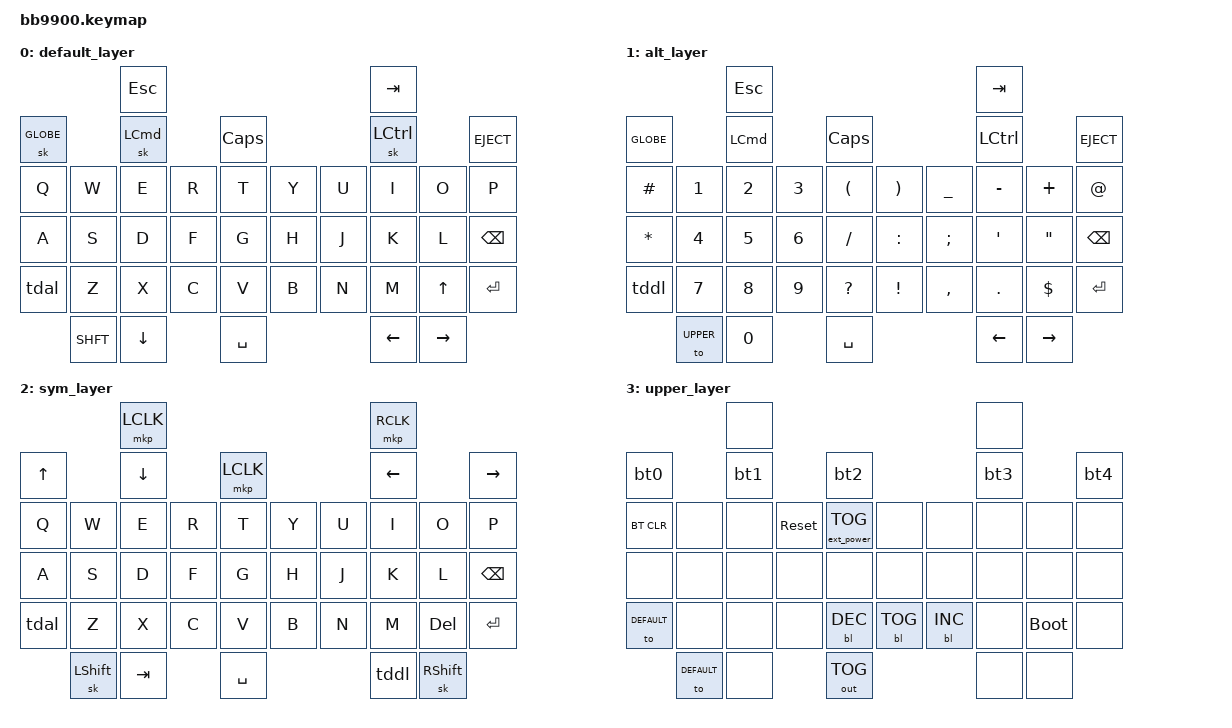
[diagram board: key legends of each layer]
/*
 * Copyright (c) 2023 ZitaoTech
 *
 * Fork of ZitaoTech's zmk-config_9900. Optimized for iOS and Windows usage.
 *
 * SPDX-License-Identifier: MIT
 */
  
#include <behaviors.dtsi>
#include <dt-bindings/zmk/keys.h>
#include <dt-bindings/zmk/bt.h>
#include <dt-bindings/zmk/outputs.h>
#include <dt-bindings/zmk/mouse.h>
#include <dt-bindings/zmk/backlight.h>
#include <dt-bindings/zmk/ext_power.h>

#define DEFAULT 0
#define ALT 1
#define SYM 2
#define UPPER 3

&sk {
    release-after-ms = <3000>;
};
&sl {
    release-after-ms = <3000>;
};

/ {
    behaviors {
        td0: tap_dance_0 {
            compatible = "zmk,behavior-tap-dance";
            #binding-cells = <0>;
            tapping-term-ms = <400>;
            bindings = <&mkp LCLK>, <&bt BT_CLR>;
        };
    };
    behaviors {
        hm: homerow_mods {
            compatible = "zmk,behavior-hold-tap";
            #binding-cells = <2>;
            tapping-term-ms = <500>;
            bindings = <&out &kp>;
        };
    };
    behaviors {
        tdp: tap_dance_punctuations {
            compatible = "zmk,behavior-tap-dance";
            #binding-cells = <0>;
            tapping-term-ms = <200>;
            bindings = <&kp DOT>, <&kp COMMA>, <&kp EXCL>, <&kp QMARK>;
        };
        skq: sticky_key_quick_release {
            compatible = "zmk,behavior-sticky-key";
            release-after-ms = <1000>;
            #binding-cells = <1>;
            bindings = <&kp>;
            quick-release;
        };
        hts: hold_tap_shift {
            compatible = "zmk,behavior-hold-tap";
            #binding-cells = <2>;
            flavor = "tap-preferred";
            tapping-term-ms = <100>;
            bindings = <&kp>, <&skq>;
        };
        tdsc: tap_dance_shft_clck {
            compatible = "zmk,behavior-tap-dance";
            #binding-cells = <0>;
            tapping-term-ms = <200>;
            bindings = <&hts CLCK LSHFT>, <&kp CLCK>;
        };
        htsk: hold_tap_skq_kp {
            compatible = "zmk,behavior-hold-tap";
            #binding-cells = <2>;
            flavor = "hold-preferred";
            tapping-term-ms = <100>;
            bindings = <&skq>, <&kp>;
        };
        tdcs: tap_dance_clck_shft {
            compatible = "zmk,behavior-tap-dance";
            #binding-cells = <0>;
            tapping-term-ms = <200>;
            bindings = <&htsk LSHFT CLCK>, <&skq LSHFT>;
        };
        htls: hold_tap_layer_sticky {
            compatible = "zmk,behavior-hold-tap";
            #binding-cells = <2>;
            flavor = "hold-preferred";
            tapping-term-ms = <100>;
            bindings = <&to>, <&msl>;
        };
        htkpsl: hold_tap_kp_sl {
	        compatible = "zmk,behavior-hold-tap";
		    #binding-cells = <2>;
	        flavor = "tap-preferred";
	        tapping-term-ms = <200>;
	        quick-tap-ms = <125>;
	        require-prior-idle-ms = <125>;
            bindings = <&kp>, <&msl>;
        };
        tdhal: tap_dance_hold_alt_layer {
            compatible = "zmk,behavior-tap-dance";
            #binding-cells = <0>;
            tapping-term-ms = <200>;
            bindings = <&htls ALT ALT>, <&to ALT>;
        };
        tdhale: tap_dance_hold_alt_layer_eject {
            compatible = "zmk,behavior-tap-dance";
            #binding-cells = <0>;
            tapping-term-ms = <500>;
            bindings = <&htkpsl C_EJECT ALT>, <&to ALT>;
        };
        tdhsl: tap_dance_hold_sym_layer {
            compatible = "zmk,behavior-tap-dance";
            #binding-cells = <0>;
            tapping-term-ms = <200>;
            bindings = <&htls SYM SYM>, <&to SYM>;
        };
        tdhsul: tap_dance_hold_sym_upper_layer {
            compatible = "zmk,behavior-tap-dance";
            #binding-cells = <0>;
            tapping-term-ms = <200>;
            bindings = <&htls SYM SYM>, <&to SYM>, <&to UPPER>;
        };
        // Binging &to ALT to second tap allows switching from sticky ALT to full ALT from ALT layer, rather than having to go back to DEFAULT layer first.
        tddl: tap_dance_default_layer {
            compatible = "zmk,behavior-tap-dance";
            #binding-cells = <0>;
            tapping-term-ms = <300>;
            bindings = <&to DEFAULT>, <&to ALT>;
        };
        tddul: tap_dance_default_upper_layer {
            compatible = "zmk,behavior-tap-dance";
            #binding-cells = <0>;
            tapping-term-ms = <200>;
            bindings = <&to DEFAULT>, <&to DEFAULT>, <&to UPPER>;
        };
        tdal: tap_dance_alt_layer {
            compatible = "zmk,behavior-tap-dance";
            #binding-cells = <0>;
            tapping-term-ms = <300>;
            bindings = <&sl ALT>, <&to ALT>;
        };
        tdsl: tap_dance_sym_layer {
            compatible = "zmk,behavior-tap-dance";
            #binding-cells = <0>;
            tapping-term-ms = <500>;
            bindings = <&to SYM>, <&to SYM>;
        };
        tdul: tap_dance_upper_layer {
            compatible = "zmk,behavior-tap-dance";
            #binding-cells = <0>;
            tapping-term-ms = <500>;
            bindings = <&msl UPPER>, <&to UPPER>;
        };
        tdal2: tap_dance_alt_layer_2 {
            compatible = "zmk,behavior-tap-dance";
            #binding-cells = <0>;
            tapping-term-ms = <500>;
            bindings = <&msl ALT>, <&to ALT>;
        };
        // Credit: Drexel Macintosh
        // mtt expects LS(letter) letter to recreate BlackBerry's tap for lowercase and hold for uppercase behavior.
        mtt: mod_tap_tap {
	        compatible = "zmk,behavior-hold-tap";
		    #binding-cells = <2>;
	        flavor = "tap-preferred";
	        tapping-term-ms = <200>;
	        quick-tap-ms = <125>;
	        require-prior-idle-ms = <125>;
	        bindings = <&tap>, <&tap>;

        // Credit: Drexel Macintosh
        // Drexel's version of shift/capslock.
        SHFT: tap_dance_2 {
            compatible = "zmk,behavior-tap-dance";
            #binding-cells = <0>;
            tapping-term-ms = <300>;
            bindings = <&sk LSHFT>, <&kp CLCK>;
        };
   	 };
    };
    macros {
        msl: macro_sticky_layer {
            compatible = "zmk,behavior-macro-one-param";
            wait-ms = <0>;
            tap-ms = <0>;
            #binding-cells = <1>;
            bindings
                = <&macro_tap &to DEFAULT>
                , <&macro_param_1to1>
                , <&macro_tap &sl MACRO_PLACEHOLDER>
                ;
        };
        // Credit: Drexel Macintosh
        // tap will only send the keypress once, even if the key is held down.
        // This makes BlackBerry's hold for uppercase behavior easier to use.
        tap: tap {
            compatible = "zmk,behavior-macro-one-param";
            #binding-cells = <1>;
            // By default, macros will tap each behavior in the bindings list,
            // so this will tap "&kp <param1>".
            bindings = <&macro_param_1to1 &kp MACRO_PLACEHOLDER>;
        };
        // Credit: jonmilley
        // These macros will turn off all the bluetooth connections except the current active one.
        // This will prevent the keyboard from waking up all the paired devices at the same time everytime it is used.
        bt0: bt0 {
            compatible = "zmk,behavior-macro";
            #binding-cells = <0>;
            bindings = <&bt BT_SEL 0 &bt BT_DISC 1 &bt BT_DISC 2 &bt BT_DISC 3 &bt BT_DISC 4>;
            label = "BT0";
        };
        bt1: bt1 {
            compatible = "zmk,behavior-macro";
            #binding-cells = <0>;
            bindings = <&bt BT_SEL 1 &bt BT_DISC 0 &bt BT_DISC 2 &bt BT_DISC 3 &bt BT_DISC 4>;
            label = "BT1";
        };
        bt2: bt2 {
            compatible = "zmk,behavior-macro";
            #binding-cells = <0>;
            bindings = <&bt BT_SEL 2 &bt BT_DISC 0 &bt BT_DISC 1 &bt BT_DISC 3 &bt BT_DISC 4>;
            label = "BT2";
        };
        bt3: bt3 {
            compatible = "zmk,behavior-macro";
            #binding-cells = <0>;
            bindings = <&bt BT_SEL 3 &bt BT_DISC 0 &bt BT_DISC 1 &bt BT_DISC 2 &bt BT_DISC 4>;
            label = "BT3";
        };
        bt4: bt4 {
            compatible = "zmk,behavior-macro";
            #binding-cells = <0>;
            bindings = <&bt BT_SEL 4 &bt BT_DISC 0 &bt BT_DISC 1 &bt BT_DISC 2 &bt BT_DISC 3>;
            label = "BT4";
        };
    };

    keymap {
        compatible = "zmk,keymap";

        default_layer {

            bindings = <

        /*
         *    KEYBOARD LAYOUT - ASCII by KyleBing
         *
                              ---------------------                                                                -------------------------
                             |    Shoulder Key1    |                                                              |      Shoulder Key2      |
                 ---------------------------------------------------------------------------------------------------------------------------------------------------
                |        Call key        |   Blackberry Key    |              Trackpad            |             Back Key           |          Endcall Key           |
                -----------------------------------------------------------------------------------------------------------------------------------------------------
                |     Q      |     W     |     E    |     R    |         T       |       Y        |        U       |       I       |        O        |      P       |
                -----------------------------------------------------------------------------------------------------------------------------------------------------
                |     A      |     S     |     D    |     F    |         G       |       H        |        J       |       K       |        L        |      ←       |
                -----------------------------------------------------------------------------------------------------------------------------------------------------
                 \    alt    |     Z     |     X    |     C    |         V       |       B        |        N       |       M       |        $        |    Enter    /
                   -----------------------------------------------------------------------------------------------------------------------------------------------
                              \      aA        |       0        |                    SPACE                  |          SYM          |         aA    /
                                -------------------------------------------------------------------------------------------------------------------
        */

                                    &kp ESC                                                                         &kp TAB
    &sk GLOBE                       &sk LEFT_COMMAND                        &kp CAPSLOCK                            &sk LEFT_CONTROL                &kp C_EJECT
    &kp Q           &kp W           &kp E           &kp R           &kp T           &kp Y           &kp U           &kp I           &kp O           &kp P
    &kp A           &kp S           &kp D           &kp F           &kp G           &kp H           &kp J           &kp K           &kp L           &kp BSPC
    &tdal           &kp Z           &kp X           &kp C           &kp V           &kp B           &kp N           &kp M           &kp UP          &kp RET
                    &SHFT           &kp DOWN                                &kp SPACE                               &kp LEFT        &kp RIGHT
            >;
        };

        alt_layer {

            bindings = <
                                    &kp ESC                                                                         &kp TAB
    &kp GLOBE                       &kp LEFT_COMMAND                        &kp CAPSLOCK                            &kp LEFT_CONTROL                &kp C_EJECT
    &kp HASH        &kp N1          &kp N2          &kp N3          &kp LPAR        &kp RPAR        &kp UNDER       &kp MINUS       &kp PLUS        &kp AT
    &kp STAR        &kp N4          &kp N5          &kp N6          &kp SLASH       &kp COLON       &kp SEMI        &kp APOS        &kp DQT         &kp BSPC
    &tddl           &kp N7          &kp N8          &kp N9          &kp QMARK       &kp EXCL        &kp COMMA       &kp DOT         &kp DLLR        &kp RET
                    &to UPPER       &kp N0                                  &kp SPACE                               &kp LEFT        &kp RIGHT

            >;
        };

        sym_layer {

            bindings = <
                                    &mkp LCLK                                                                       &mkp RCLK
    &kp UP                          &kp DOWN                                &mkp LCLK                               &kp LEFT                        &kp RIGHT
    &kp Q           &kp W           &kp E           &kp R           &kp T           &kp Y           &kp U           &kp I           &kp O           &kp P
    &kp A           &kp S           &kp D           &kp F           &kp G           &kp H           &kp J           &kp K           &kp L           &kp BSPC
    &tdal           &kp Z           &kp X           &kp C           &kp V           &kp B           &kp N           &kp M           &kp DEL         &kp RET
                    &sk LSHFT       &kp TAB                                 &kp SPACE                               &tddl           &sk RSHFT

            >;
        };

        upper_layer {

            bindings = <
                                    &none                                                                           &none
    &bt0                            &bt1                                    &bt2                                    &bt3                            &bt4
    &bt BT_CLR      &none           &none           &sys_reset      &ext_power EP_TOG &none         &none           &none           &none           &none
    &none           &none           &none           &none           &none             &none         &none           &none           &none           &none
    &to DEFAULT     &none           &none           &none           &bl BL_DEC        &bl BL_TOG    &bl BL_INC      &none           &bootloader     &none
                    &to DEFAULT     &none                                   &out OUT_TOG                            &none           &none
            >;
        };
    };
};

